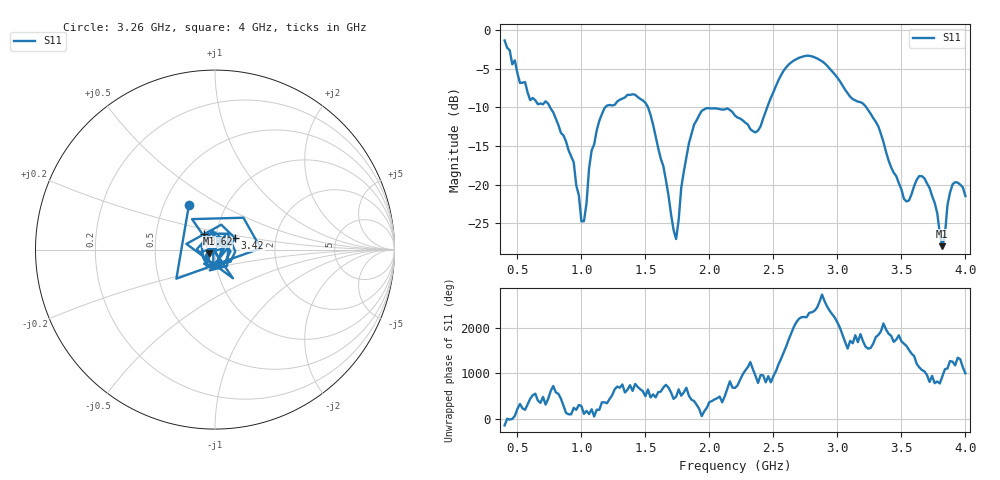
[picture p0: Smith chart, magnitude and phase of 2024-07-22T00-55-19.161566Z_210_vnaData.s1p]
!Created with skrf (http://scikit-rf.org).
# Hz S RI R 50.0
!freq ReS11 ImS11
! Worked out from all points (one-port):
!   181 points, 400 MHz to 4 GHz, reference 50 ohm
!   lowest |S11| = -28.0 dB at 3.82 GHz (marker M1), VSWR 1.08, Z = 46.6 - j1.85 ohm
!   |S11| at or under -10 dB: 755.2 MHz to 1.187 GHz (431.4 MHz wide, 44.4 % of centre); 1.521 GHz to 2.452 GHz (931.1 MHz wide, 46.9 % of centre); 3.225 GHz to end of sweep
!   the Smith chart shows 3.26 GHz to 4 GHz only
!   S11 on the Smith chart (normalised r, x): 3.26 GHz: 0.67, +0.36; 3.42 GHz: 1.24, +0.16; 3.62 GHz: 0.87, +0.15; 4 GHz: 1.02, -0.17
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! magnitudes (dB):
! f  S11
! 400 MHz  -1.3
! 600 MHz  -9.1
! 740 MHz  -9.5
! 860 MHz  -13.6
! 940 MHz  -17.1
! 1 GHz  -24.8
! 1.02 GHz  -24.7
! 1.08 GHz  -15.6
! 1.14 GHz  -11.7
! 1.3 GHz  -9.0
! 1.52 GHz  -10.0
! 1.72 GHz  -25.9
! 1.76 GHz  -24.6
! 1.84 GHz  -14.7
! 1.92 GHz  -11.0
! 2.2 GHz  -11.1
! 2.38 GHz  -13.0
! 2.66 GHz  -3.9
! 2.88 GHz  -4.0
! 3.1 GHz  -8.6
! 3.26 GHz  -10.8
! 3.42 GHz  -17.8
! 3.56 GHz  -22.0
! 3.62 GHz  -19.4
! 3.72 GHz  -20.4
! 3.82 GHz  -28.0
! 3.9 GHz  -20.0
! 4 GHz  -21.5
